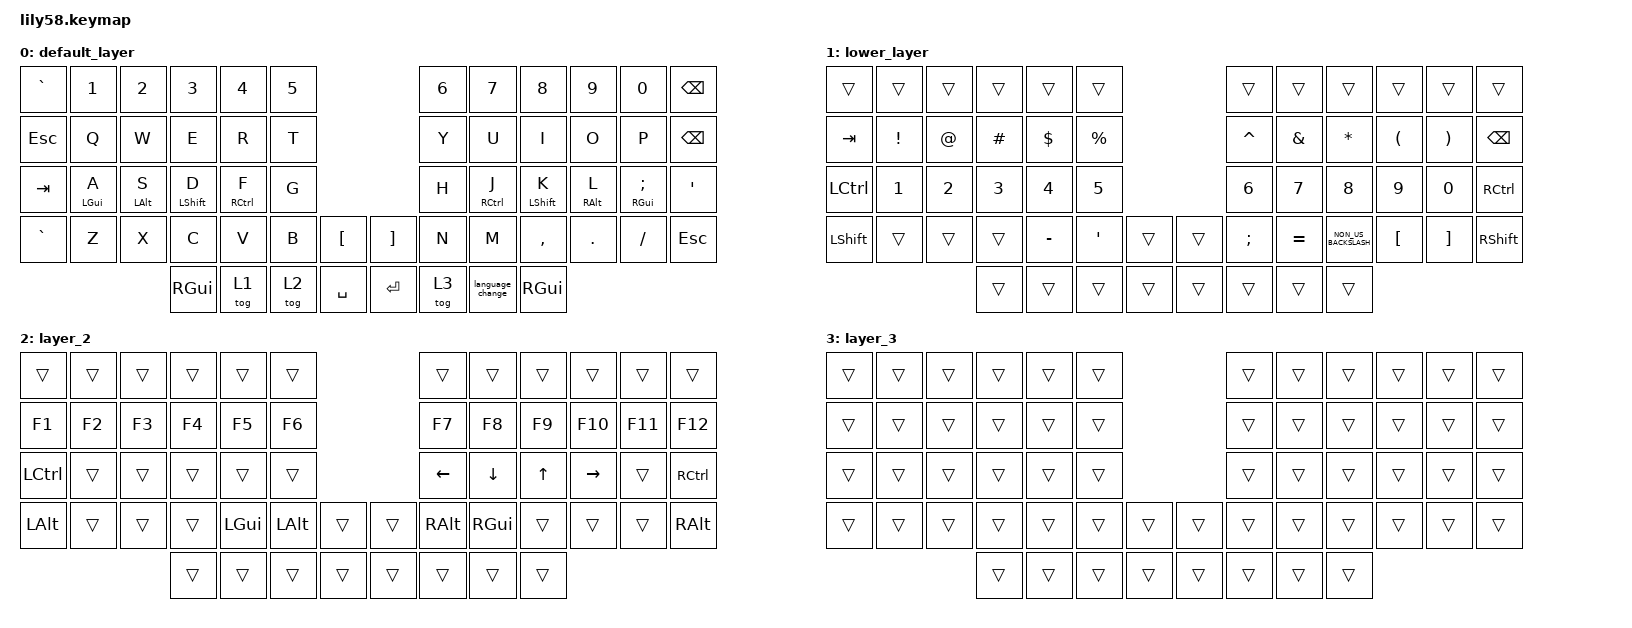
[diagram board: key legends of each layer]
/*
 * Copyright (c) 2020 The ZMK Contributors
 *
 * SPDX-License-Identifier: MIT
 */

#include <behaviors.dtsi>
#include <dt-bindings/zmk/keys.h>

/ {
    macros {
        language_change: language_change {
            compatible = "zmk,behavior-macro";
            #binding-cells = <0>;
            bindings = <&kp RC(SPACE)>;
            label = "LANGUAGE_CHANGE";
        };
    };

    keymap {
        compatible = "zmk,keymap";

        default_layer {
            // ------------------------------------------------------------------------------------------------------------
            // |  ESC  |  1  |  2  |  3   |  4   |  5   |                   |  6   |  7    |  8    |  9   |   0   |   `   |
            // |  TAB  |  Q  |  W  |  E   |  R   |  T   |                   |  Y   |  U    |  I    |  O   |   P   |   -   |
            // |  CTRL |  A  |  S  |  D   |  F   |  G   |                   |  H   |  J    |  K    |  L   |   ;   |   '   |
            // | SHIFT |  Z  |  X  |  C   |  V   |  B   |   "["  |  |  "]"  |  N   |  M    |  ,    |  .   |   /   | SHIFT |
            //                     | ALT  | GUI  | LOWER|  SPACE |  | ENTER | RAISE| BSPC  | GUI   |

            bindings = <
&kp GRAVE  &kp N1          &kp N2          &kp N3            &kp N4       &kp N5                         &kp N6  &kp N7            &kp N8            &kp N9           &kp N0              &kp BACKSPACE
&kp ESC    &kp Q           &kp W           &kp E             &kp R        &kp T                          &kp Y   &kp U             &kp I             &kp O            &kp P               &kp BACKSPACE
&kp TAB    &mt LEFT_GUI A  &mt LEFT_ALT S  &mt LEFT_SHIFT D  &mt RCTRL F  &kp G                          &kp H   &mt RCTRL J       &mt LEFT_SHIFT K  &mt RIGHT_ALT L  &mt RIGHT_GUI SEMI  &kp SQT
&kp GRAVE  &kp Z           &kp X           &kp C             &kp V        &kp B   &kp LBKT     &kp RBKT  &kp N   &kp M             &kp COMMA         &kp DOT          &kp FSLH            &kp ESCAPE
                                           &kp RGUI          &tog 1       &tog 2  &kp SPACE    &kp RET   &tog 3  &language_change  &kp RGUI
            >;
        };

        lower_layer {
            // --------------------------------------------------------------------------------------------------------------
            // | LPAD  | BRDn | BRUp |  MUT |  Vo- |  Vo+ |                   |      |       |       |      |       |       |
            // |  F1   |  F2  |  F3  |  F4  |  F5  |  F6  |                   |  F7  |  F8   |  F9   |  F10 |  F11  |  F12  |
            // |   `   |  !   |  @   |  #   |  $   |  %   |                   |  ^   |  &    |  *    |  (   |   )   |   ~   |
            // |       |      |      |      |      |      |        |  |       |      |  _    |  +    |  {   |   }   |  "|"  |
            //                       |      |      |      |        |  |       |      |       |       |

            bindings = <
&trans     &trans           &trans        &trans        &trans        &trans                         &trans         &trans         &trans                &trans                &trans                 &trans
&kp TAB    &kp EXCLAMATION  &kp AT_SIGN   &kp HASH      &kp DOLLAR    &kp PERCENT                    &kp CARET      &kp AMPERSAND  &kp ASTERISK          &kp LEFT_PARENTHESIS  &kp RIGHT_PARENTHESIS  &kp BACKSPACE
&kp LCTRL  &kp NUMBER_1     &kp NUMBER_2  &kp NUMBER_3  &kp NUMBER_4  &kp N5                         &kp NUMBER_6   &kp N7         &kp N8                &kp N9                &kp N0                 &kp RCTRL
&kp LSHFT  &trans           &trans        &trans        &kp MINUS     &kp SQT      &trans    &trans  &kp SEMICOLON  &kp EQUAL      &kp NON_US_BACKSLASH  &kp LEFT_BRACKET      &kp RIGHT_BRACKET      &kp RSHIFT
                                          &trans        &trans        &trans       &trans    &trans  &trans         &trans         &trans
            >;
        };

        layer_2 {
            bindings = <
&trans     &trans  &trans  &trans  &trans    &trans                      &trans          &trans          &trans        &trans           &trans   &trans
&kp F1     &kp F2  &kp F3  &kp F4  &kp F5    &kp F6                      &kp F7          &kp F8          &kp F9        &kp F10          &kp F11  &kp F12
&kp LCTRL  &trans  &trans  &trans  &trans    &trans                      &kp LEFT_ARROW  &kp DOWN_ARROW  &kp UP_ARROW  &kp RIGHT_ARROW  &trans   &kp RCTRL
&kp LALT   &trans  &trans  &trans  &kp LGUI  &kp LALT  &trans    &trans  &kp RALT        &kp RGUI        &trans        &trans           &trans   &kp RALT
                           &trans  &trans    &trans    &trans    &trans  &trans          &trans          &trans
            >;
        };

        layer_3 {
            bindings = <
&trans  &trans  &trans  &trans  &trans  &trans                    &trans  &trans  &trans  &trans  &trans  &trans
&trans  &trans  &trans  &trans  &trans  &trans                    &trans  &trans  &trans  &trans  &trans  &trans
&trans  &trans  &trans  &trans  &trans  &trans                    &trans  &trans  &trans  &trans  &trans  &trans
&trans  &trans  &trans  &trans  &trans  &trans  &trans    &trans  &trans  &trans  &trans  &trans  &trans  &trans
                        &trans  &trans  &trans  &trans    &trans  &trans  &trans  &trans
            >;
        };
    };
};
